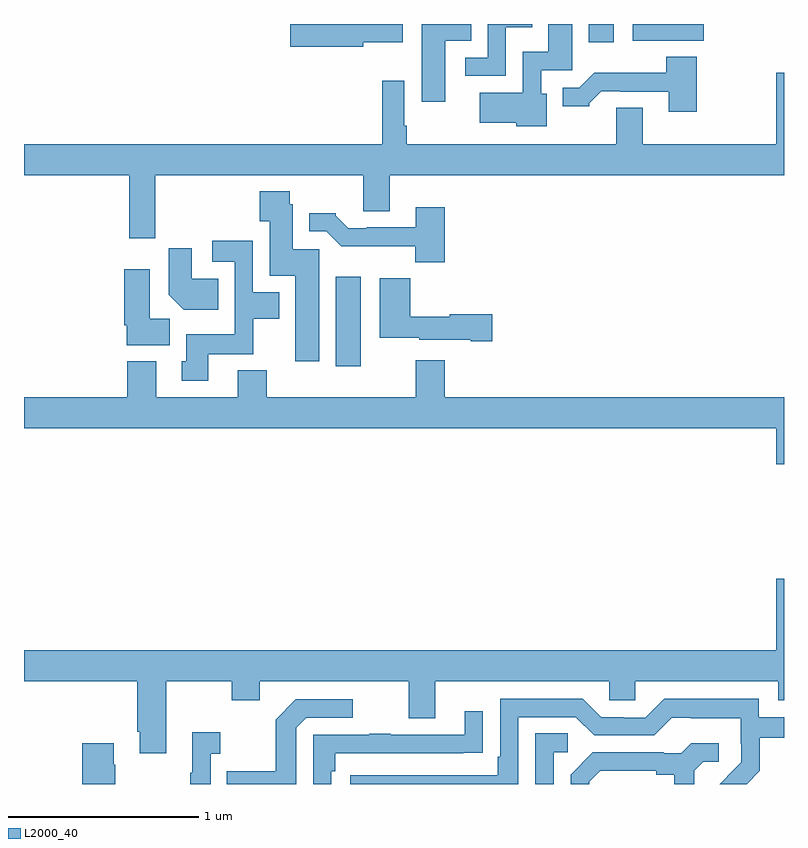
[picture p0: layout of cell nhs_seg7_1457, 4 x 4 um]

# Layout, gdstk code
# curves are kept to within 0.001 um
import gdstk
lib = gdstk.Library(unit=1e-6, precision=1e-09)
def R(c, l, rs):  # rectangles x0, y0, x1, y1
    for r in rs: c.add(gdstk.rectangle(r[:2], r[2:], *l))
def P(c, l, *ps):  # polygons
    for p in ps: c.add(gdstk.Polygon(p, *l))
L2000_40 = (2000, 40)

nhs_seg7_1457 = lib.new_cell('nhs_seg7_1457')
R(nhs_seg7_1457, L2000_40, [(210.641,1078.2,210.772,1078.669), (211.973,1079.904,212.104,1080), (212.204,1079.912,212.578,1080)])
P(nhs_seg7_1457, L2000_40, [(211.536,1079.984),(211.675,1079.984),(211.675,1080),(211.44,1080),(211.44,1079.823),(211.323,1079.823),(211.323,1079.727),(211.536,1079.727)],
  [(211.75,1079.634),(211.722,1079.634),(211.722,1079.757),(211.885,1079.757),(211.885,1080),(211.76,1080),(211.76,1079.854),(211.626,1079.854),(211.626,1079.638),(211.398,1079.638),(211.398,1079.48),(211.59,1079.48),(211.59,1079.462),(211.75,1079.462)],
  [(210.786,1079.903),(210.994,1079.903),(210.994,1080),(210.402,1080),(210.402,1079.879),(210.786,1079.879)],
  [(211.216,1079.912),(211.355,1079.912),(211.355,1080),(211.096,1080),(211.094,1079.998),(211.094,1079.592),(211.216,1079.592)],
  [(212.541,1079.827),(212.381,1079.827),(212.381,1079.743),(212.002,1079.743),(211.923,1079.664),(211.835,1079.664),(211.835,1079.567),(211.974,1079.567),(211.974,1079.582),(212.038,1079.646),(212.137,1079.646),(212.137,1079.643),(212.393,1079.643),(212.393,1079.538),(212.541,1079.538)],
  [(209.69,1079.204),(210.785,1079.204),(210.785,1079.014),(210.925,1079.014),(210.925,1079.204),(213,1079.204),(213,1079.743),(212.96,1079.743),(212.96,1079.368),(212.257,1079.368),(212.257,1079.558),(212.117,1079.558),(212.117,1079.368),(211.015,1079.368),(211.015,1079.464),(211.002,1079.464),(211.002,1079.701),(210.886,1079.701),(210.886,1079.368),(209,1079.368),(209,1079.204),(209.554,1079.204),(209.554,1078.872),(209.69,1078.872)],
  [(210.553,1078.815),(210.415,1078.815),(210.415,1079.052),(210.399,1079.052),(210.399,1079.119),(210.242,1079.119),(210.242,1078.963),(210.293,1078.963),(210.293,1078.676),(210.428,1078.676),(210.428,1078.224),(210.553,1078.224)],
  [(211.214,1079.035),(211.061,1079.035),(211.061,1078.929),(210.805,1078.929),(210.805,1078.926),(210.706,1078.926),(210.642,1078.99),(210.642,1079.005),(210.5,1079.005),(210.5,1078.908),(210.591,1078.908),(210.67,1078.83),(211.059,1078.83),(211.059,1078.745),(211.214,1078.745)],
  [(209.971,1078.262),(210.207,1078.262),(210.207,1078.448),(210.343,1078.448),(210.343,1078.588),(210.204,1078.588),(210.204,1078.858),(209.991,1078.858),(209.991,1078.749),(210.108,1078.749),(210.108,1078.366),(209.855,1078.366),(209.855,1078.224),(209.831,1078.224),(209.831,1078.122),(209.971,1078.122)],
  [(210.023,1078.66),(209.884,1078.66),(209.884,1078.819),(209.762,1078.819),(209.762,1078.574),(209.84,1078.496),(210.023,1078.496)],
  [(209.767,1078.448),(209.662,1078.448),(209.662,1078.708),(209.528,1078.708),(209.528,1078.414),(209.54,1078.414),(209.54,1078.31),(209.767,1078.31)],
  [(211.465,1078.472),(211.242,1078.472),(211.242,1078.459),(211.034,1078.459),(211.034,1078.663),(210.872,1078.663),(210.872,1078.349),(211.08,1078.349),(211.08,1078.337),(211.352,1078.337),(211.352,1078.33),(211.465,1078.33)],
  [(213,1078.036),(211.214,1078.036),(211.214,1078.231),(211.061,1078.231),(211.061,1078.036),(210.278,1078.036),(210.278,1078.177),(210.125,1078.177),(210.125,1078.036),(209.695,1078.036),(209.695,1078.225),(209.543,1078.225),(209.543,1078.036),(209,1078.036),(209,1077.872),(212.96,1077.872),(212.96,1077.684),(213,1077.684)],
  [(209.749,1076.54),(210.094,1076.54),(210.094,1076.441),(210.241,1076.441),(210.241,1076.54),(211.025,1076.54),(211.025,1076.346),(211.165,1076.346),(211.165,1076.54),(212.079,1076.54),(212.079,1076.442),(212.217,1076.442),(212.217,1076.54),(212.969,1076.54),(212.969,1076.441),(213,1076.441),(213,1077.079),(212.96,1077.079),(212.96,1076.704),(209,1076.704),(209,1076.54),(209.597,1076.54),(209.597,1076.275),(209.609,1076.275),(209.609,1076.163),(209.749,1076.163)],
  [(211.602,1076.352),(211.905,1076.352),(212.001,1076.256),(212.316,1076.256),(212.409,1076.349),(212.509,1076.349),(212.509,1076.345),(212.772,1076.345),(212.772,1076.211),(212.774,1076.211),(212.774,1076.114),(212.662,1076),(212.804,1076),(212.873,1076.069),(212.873,1076.244),(213,1076.244),(213,1076.352),(212.868,1076.352),(212.868,1076.449),(212.371,1076.449),(212.271,1076.349),(212.156,1076.349),(212.156,1076.352),(212.037,1076.352),(211.941,1076.448),(211.506,1076.448),(211.506,1076.143),(211.493,1076.143),(211.493,1076.046),(210.717,1076.046),(210.717,1076),(211.602,1076)],
  [(210.432,1076.295),(210.486,1076.349),(210.73,1076.349),(210.73,1076.445),(210.429,1076.445),(210.324,1076.339),(210.324,1076.067),(210.067,1076.067),(210.067,1076),(210.432,1076)],
  [(210.618,1076.066),(210.638,1076.066),(210.638,1076.163),(211.313,1076.163),(211.313,1076.164),(211.415,1076.164),(211.415,1076.383),(211.319,1076.383),(211.319,1076.259),(210.929,1076.259),(210.929,1076.264),(210.817,1076.264),(210.817,1076.259),(210.522,1076.259),(210.522,1076),(210.618,1076)],
  [(209.982,1076.159),(210.034,1076.159),(210.034,1076.272),(209.885,1076.272),(209.885,1076.059),(209.874,1076.059),(209.874,1076),(209.982,1076)],
  [(211.788,1076.166),(211.861,1076.166),(211.861,1076.267),(211.692,1076.267),(211.692,1076),(211.788,1076)],
  [(211.975,1076.013),(212.032,1076.07),(212.327,1076.07),(212.327,1076.048),(212.423,1076.048),(212.423,1076),(212.527,1076),(212.527,1076.071),(212.574,1076.118),(212.656,1076.118),(212.656,1076.215),(212.512,1076.215),(212.46,1076.163),(212.366,1076.163),(212.366,1076.166),(211.994,1076.166),(211.878,1076.05),(211.878,1076),(211.975,1076)],
  [(209.481,1076.102),(209.473,1076.102),(209.473,1076.215),(209.306,1076.215),(209.306,1076),(209.481,1076)])

lib.write_gds('nhs_seg7_1457.gds')
